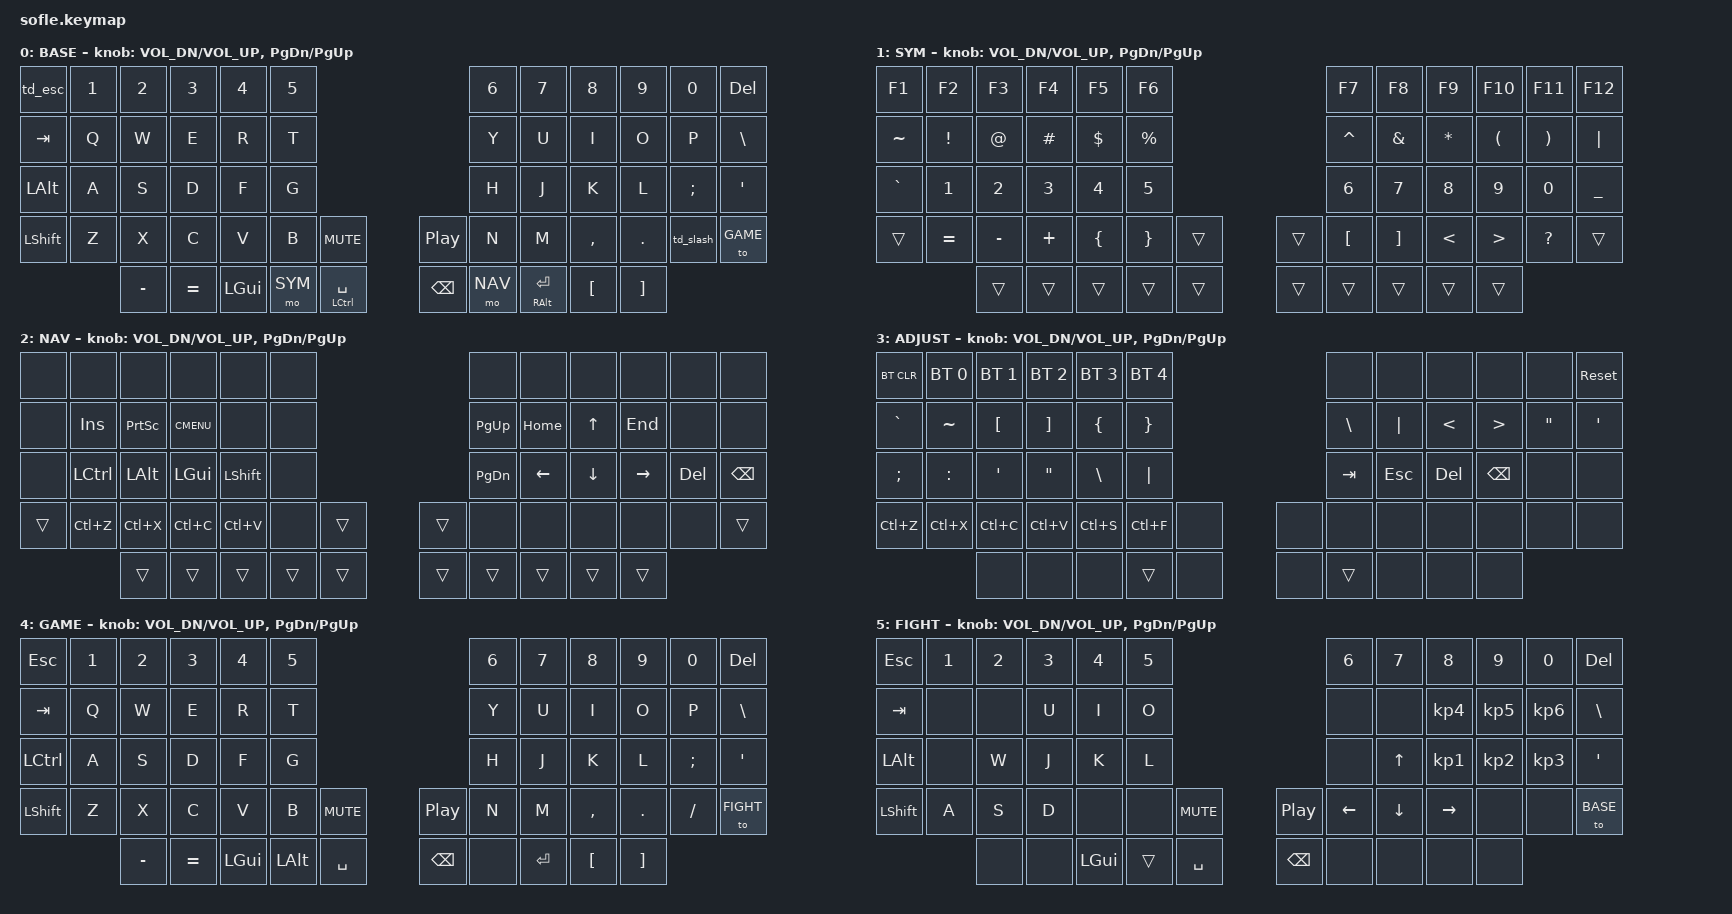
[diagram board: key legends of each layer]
/*
 * Copyright (c) 2020 The ZMK Contributors
 *
 * SPDX-License-Identifier: MIT
 */

#include <behaviors.dtsi>
#include <dt-bindings/zmk/bt.h>
#include <dt-bindings/zmk/keys.h>

#define BASE 0
#define SYM 1
#define NAV 2
#define ADJUST 3
#define GAME 4
#define FIGHT 5

&left_encoder { resolution = <1>; };
&right_encoder { resolution = <1>; };

/ {
    conditional_layers {
        compatible = "zmk,conditional-layers";

        adjust_layer {
            if-layers = <SYM NAV>;
            then-layer = <ADJUST>;
        };
    };

    behaviors {
        td_slash: tap_dance_slash {
            compatible = "zmk,behavior-tap-dance";
            #binding-cells = <0>;
            tapping-term-ms = <200>;
            bindings = <&kp FSLH>, <&kp BSLH>;
            label = "tap_dance_slash";
        };

        td_esc: tap_dance_escape {
            compatible = "zmk,behavior-tap-dance";
            #binding-cells = <0>;
            bindings = <&kp ESC>, <&kp GRAVE>;
            tapping-term-ms = <200>;
            label = "tap_dance_escape";
        };

        mt_space: mod_tap_space {
            compatible = "zmk,behavior-hold-tap";
            label = "MOD_TAP_SPACE";
            #binding-cells = <2>;
            flavor = "tap-preferred";
            tapping-term-ms = <200>;
            quick-tap-ms = <150>;
            require-prior-idle-ms = <150>;
            bindings = <&kp>, <&kp>;
        };

        mt_ent: mod_tap_enter {
            compatible = "zmk,behavior-hold-tap";
            label = "MOD_TAP_ENTER";
            #binding-cells = <2>;
            flavor = "tap-preferred";
            tapping-term-ms = <200>;
            quick-tap-ms = <150>;
            require-prior-idle-ms = <150>;
            bindings = <&kp>, <&kp>;
        };
    };

    keymap {
        compatible = "zmk,keymap";

        base_layer {
            label = "BASE";
            bindings = <
&td_esc    &kp N1  &kp N2     &kp N3     &kp N4    &kp N5                                                     &kp N6  &kp N7              &kp N8     &kp N9    &kp N0     &kp DEL
&kp TAB    &kp Q   &kp W      &kp E      &kp R     &kp T                                                      &kp Y   &kp U               &kp I      &kp O     &kp P      &kp BSLH
&kp LALT   &kp A   &kp S      &kp D      &kp F     &kp G                                                      &kp H   &kp J               &kp K      &kp L     &kp SEMI   &kp SQT
&kp LSHFT  &kp Z   &kp X      &kp C      &kp V     &kp B   &kp C_MUTE               &kp C_PP                  &kp N   &kp M               &kp COMMA  &kp DOT   &td_slash  &to GAME
                   &kp MINUS  &kp EQUAL  &kp LGUI  &mo SYM  &mt_space LCTRL SPACE    &kp BACKSPACE             &mo NAV  &mt_ent RALT ENTER  &kp LBKT   &kp RBKT
            >;
            sensor-bindings = <&inc_dec_kp C_VOL_DN C_VOL_UP &inc_dec_kp PG_DN PG_UP>;
        };

        sym_layer {
            label = "SYM";
            bindings = <
&kp F1     &kp F2     &kp F3     &kp F4    &kp F5    &kp F6                       &kp F7     &kp F8    &kp F9    &kp F10   &kp F11    &kp F12
&kp TILDE  &kp EXCL   &kp AT     &kp HASH  &kp DLLR  &kp PRCNT                    &kp CARET  &kp AMPS  &kp STAR  &kp LPAR  &kp RPAR   &kp PIPE
&kp GRAVE  &kp N1     &kp N2     &kp N3    &kp N4    &kp N5                       &kp N6     &kp N7    &kp N8    &kp N9    &kp N0     &kp UNDER
&trans     &kp EQUAL  &kp MINUS  &kp PLUS  &kp LBRC  &kp RBRC   &trans    &trans  &kp LBKT   &kp RBKT  &kp LT    &kp GT    &kp QMARK  &trans
                      &trans     &trans    &trans    &trans     &trans    &trans  &trans     &trans    &trans    &trans
            >;
            sensor-bindings = <&inc_dec_kp C_VOL_DN C_VOL_UP &inc_dec_kp PG_DN PG_UP>;
        };

        nav_layer {
            label = "NAV";
            bindings = <
&none       &none         &none         &none         &none         &none                            &none      &none     &none     &none      &none    &none
&none       &kp INS       &kp PSCRN     &kp K_CMENU   &none         &none                           &kp PG_UP  &kp HOME  &kp UP    &kp END    &none    &none
&none       &kp LCTRL     &kp LALT      &kp LGUI      &kp LSHFT     &none                           &kp PG_DN  &kp LEFT  &kp DOWN  &kp RIGHT  &kp DEL  &kp BSPC
&trans      &kp LC(Z)     &kp LC(X)     &kp LC(C)     &kp LC(V)     &none         &trans    &trans  &none      &none     &none     &none      &none    &trans
                          &trans        &trans        &trans        &trans        &trans    &trans  &trans     &trans    &trans    &trans
            >;
            sensor-bindings = <&inc_dec_kp C_VOL_DN C_VOL_UP &inc_dec_kp PG_DN PG_UP>;
        };

        adjust_layer {
            label = "ADJUST";
            bindings = <
&bt BT_CLR         &bt BT_SEL 0     &bt BT_SEL 1     &bt BT_SEL 2     &bt BT_SEL 3     &bt BT_SEL 4                               &none   &none  &none  &none  &none  &sys_reset
&kp GRAVE          &kp TILDE        &kp LBKT        &kp RBKT        &kp LBRC        &kp RBRC                              &kp BSLH &kp PIPE &kp LT &kp GT &kp DQT &kp SQT
&kp SEMI           &kp COLON        &kp SQT         &kp DQT         &kp BSLH        &kp PIPE                              &kp TAB  &kp ESC  &kp DEL &kp BSPC &none &none
&kp LC(Z)          &kp LC(X)        &kp LC(C)       &kp LC(V)       &kp LC(S)       &kp LC(F)        &none        &none  &none   &none   &none  &none  &none  &none
                                    &none            &none            &none            &trans           &none              &none  &trans  &none  &none  &none
            >;
            sensor-bindings = <&inc_dec_kp C_VOL_DN C_VOL_UP &inc_dec_kp PG_DN PG_UP>;
        };

        game_layer {
            label = "GAME";
            bindings = <
&kp ESC           &kp N1  &kp N2     &kp N3     &kp N4    &kp N5                                 &kp N6  &kp N7     &kp N8     &kp N9    &kp N0    &kp DEL
&kp TAB           &kp Q   &kp W      &kp E      &kp R     &kp T                                  &kp Y   &kp U      &kp I      &kp O     &kp P     &kp BSLH
&kp LEFT_CONTROL  &kp A   &kp S      &kp D      &kp F     &kp G                                  &kp H   &kp J      &kp K      &kp L     &kp SEMI  &kp SQT
&kp LSHFT         &kp Z   &kp X      &kp C      &kp V     &kp B     &kp C_MUTE    &kp C_PP       &kp N   &kp M      &kp COMMA  &kp DOT   &kp FSLH  &to FIGHT
                          &kp MINUS  &kp EQUAL  &kp LGUI  &kp LALT  &kp SPACE     &kp BACKSPACE  &none   &kp ENTER  &kp LBKT   &kp RBKT
            >;
            sensor-bindings = <&inc_dec_kp C_VOL_DN C_VOL_UP &inc_dec_kp PG_DN PG_UP>;
        };

        fight_layer {
            label = "FIGHT";
            bindings = <
&kp ESC    &kp N1  &kp N2  &kp N3  &kp N4    &kp N5                               &kp N6    &kp N7          &kp N8     &kp N9     &kp N0     &kp DEL
&kp TAB    &none   &none   &kp U   &kp I     &kp O                                &none     &none           &kp KP_N4  &kp KP_N5  &kp KP_N6  &kp BSLH
&kp LALT   &none   &kp W   &kp J   &kp K     &kp L                                &none     &kp UP          &kp KP_N1  &kp KP_N2  &kp KP_N3  &kp SQT
&kp LSHFT  &kp A   &kp S   &kp D   &none     &none   &kp C_MUTE    &kp C_PP       &kp LEFT  &kp DOWN_ARROW  &kp RIGHT  &none      &none      &to BASE
                   &none   &none   &kp LGUI  &trans  &kp SPACE     &kp BACKSPACE  &none     &none           &none      &none
            >;
            sensor-bindings = <&inc_dec_kp C_VOL_DN C_VOL_UP &inc_dec_kp PG_DN PG_UP>;
        };
    };
};
